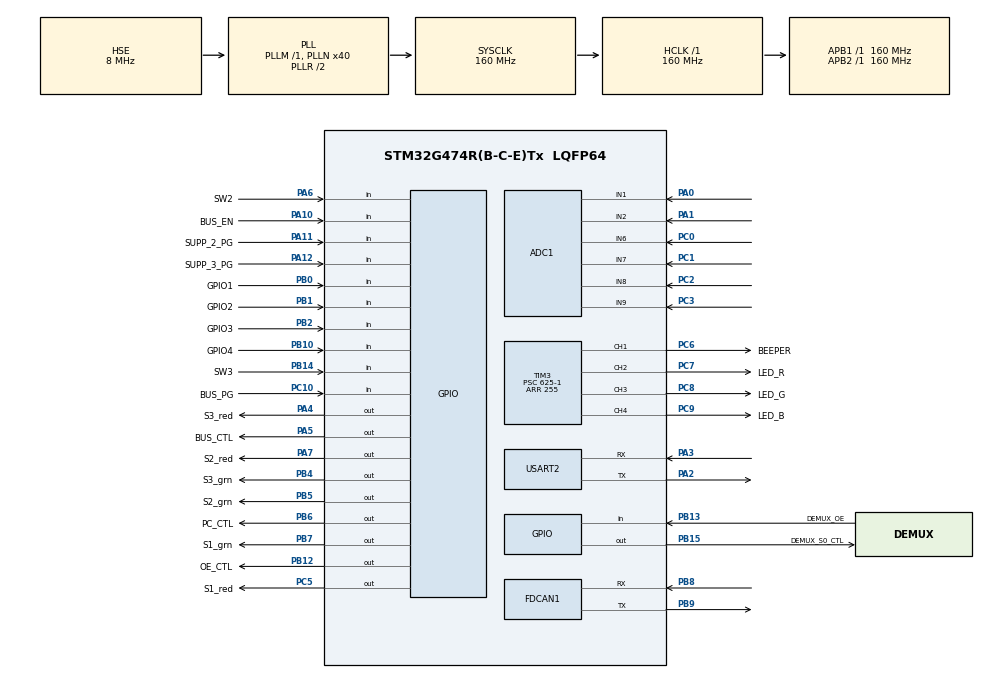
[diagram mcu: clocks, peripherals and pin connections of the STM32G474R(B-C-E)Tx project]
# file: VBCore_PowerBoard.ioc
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ADC1.Channel-0\#ChannelRegularConversion=ADC_CHANNEL_1
ADC1.Channel-1\#ChannelRegularConversion=ADC_CHANNEL_2
ADC1.Channel-2\#ChannelRegularConversion=ADC_CHANNEL_6
ADC1.Channel-3\#ChannelRegularConversion=ADC_CHANNEL_7
ADC1.Channel-4\#ChannelRegularConversion=ADC_CHANNEL_8
ADC1.Channel-5\#ChannelRegularConversion=ADC_CHANNEL_9
ADC1.ClockPrescaler=ADC_CLOCK_ASYNC_DIV128
ADC1.ContinuousConvMode=ENABLE
ADC1.DMAContinuousRequests=ENABLE
ADC1.EOCSelection=ADC_EOC_SEQ_CONV
ADC1.NbrOfConversion=6
ADC1.NbrOfConversionFlag=1
ADC1.OffsetNumber-0\#ChannelRegularConversion=ADC_OFFSET_NONE
ADC1.OffsetNumber-1\#ChannelRegularConversion=ADC_OFFSET_NONE
ADC1.OffsetNumber-2\#ChannelRegularConversion=ADC_OFFSET_NONE
ADC1.OffsetNumber-3\#ChannelRegularConversion=ADC_OFFSET_NONE
ADC1.OffsetNumber-4\#ChannelRegularConversion=ADC_OFFSET_NONE
ADC1.OffsetNumber-5\#ChannelRegularConversion=ADC_OFFSET_NONE
ADC1.Overrun=ADC_OVR_DATA_OVERWRITTEN
ADC1.OversamplingMode=DISABLE
ADC1.Rank-0\#ChannelRegularConversion=1
ADC1.Rank-1\#ChannelRegularConversion=2
ADC1.Rank-2\#ChannelRegularConversion=3
ADC1.Rank-3\#ChannelRegularConversion=4
ADC1.Rank-4\#ChannelRegularConversion=5
ADC1.Rank-5\#ChannelRegularConversion=6
ADC1.SamplingTime-0\#ChannelRegularConversion=ADC_SAMPLETIME_24CYCLES_5
ADC1.SamplingTime-1\#ChannelRegularConversion=ADC_SAMPLETIME_24CYCLES_5
ADC1.SamplingTime-2\#ChannelRegularConversion=ADC_SAMPLETIME_24CYCLES_5
ADC1.SamplingTime-3\#ChannelRegularConversion=ADC_SAMPLETIME_24CYCLES_5
ADC1.SamplingTime-4\#ChannelRegularConversion=ADC_SAMPLETIME_24CYCLES_5
ADC1.SamplingTime-5\#ChannelRegularConversion=ADC_SAMPLETIME_24CYCLES_5
ADC1.master=1
Dma.ADC1.0.Direction=DMA_PERIPH_TO_MEMORY
Dma.ADC1.0.EventEnable=DISABLE
Dma.ADC1.0.Instance=DMA1_Channel1
Dma.ADC1.0.MemDataAlignment=DMA_MDATAALIGN_WORD
Dma.ADC1.0.MemInc=DMA_MINC_ENABLE
Dma.ADC1.0.Mode=DMA_CIRCULAR
Dma.ADC1.0.PeriphDataAlignment=DMA_PDATAALIGN_WORD
Dma.ADC1.0.PeriphInc=DMA_PINC_DISABLE
Dma.ADC1.0.Polarity=HAL_DMAMUX_REQ_GEN_RISING
Dma.ADC1.0.Priority=DMA_PRIORITY_LOW
Dma.ADC1.0.RequestNumber=1
Dma.ADC1.0.SignalID=NONE
Dma.ADC1.0.SyncEnable=DISABLE
Dma.ADC1.0.SyncPolarity=HAL_DMAMUX_SYNC_NO_EVENT
Dma.ADC1.0.SyncRequestNumber=1
Dma.ADC1.0.SyncSignalID=NONE
Dma.Request0=ADC1
FDCAN1.AutoRetransmission=ENABLE
FDCAN1.CalculateBaudRateNominal=1000000
FDCAN1.CalculateTimeBitNominal=1000
FDCAN1.CalculateTimeQuantumNominal=12.5
FDCAN1.ClockDivider=FDCAN_CLOCK_DIV2
FDCAN1.DataPrescaler=1
FDCAN1.DataTimeSeg1=5
FDCAN1.DataTimeSeg2=4
FDCAN1.ExtFiltersNbr=3
FDCAN1.FrameFormat=FDCAN_FRAME_FD_BRS
FDCAN1.NominalPrescaler=1
FDCAN1.NominalTimeSeg1=55
FDCAN1.NominalTimeSeg2=24
FDCAN1.TransmitPause=ENABLE
Mcu.Family=STM32G4
Mcu.Name=STM32G474R(B-C-E)Tx
Mcu.Package=LQFP64
NVIC.DMA1_Channel1_IRQn=true\:0\:0\:false\:false\:true\:false\:true\:true
NVIC.PriorityGroup=NVIC_PRIORITYGROUP_4
NVIC.TIM1_UP_TIM16_IRQn=true\:2\:0\:true\:false\:true\:true\:true\:true
NVIC.TIM6_DAC_IRQn=true\:1\:0\:true\:false\:true\:true\:true\:true
NVIC.TIM7_DAC_IRQn=true\:0\:0\:false\:false\:true\:true\:true\:true
PA0.Mode=IN1-Single-Ended
PA0.Signal=ADC1_IN1
PA1.Mode=IN2-Single-Ended
PA1.Signal=ADC1_IN2
PA10.GPIO_Label=BUS_EN
PA10.Signal=GPIO_Input
PA11.GPIO_Label=SUPP_2_PG
PA11.GPIO_PuPd=GPIO_PULLUP
PA11.Signal=GPIO_Input
PA12.GPIO_Label=SUPP_3_PG
PA12.GPIO_PuPd=GPIO_PULLUP
PA12.Signal=GPIO_Input
PA13.Mode=Serial_Wire
PA13.Signal=SYS_JTMS-SWDIO
PA14.Mode=Serial_Wire
PA14.Signal=SYS_JTCK-SWCLK
PA2.Mode=Asynchronous
PA2.Signal=USART2_TX
PA3.Mode=Asynchronous
PA3.Signal=USART2_RX
PA4.GPIO_Label=S3_red
PA4.Signal=GPIO_Output
PA5.GPIO_Label=BUS_CTL
PA5.Signal=GPIO_Output
PA6.GPIO_Label=SW2
PA6.GPIO_PuPd=GPIO_PULLUP
PA6.Signal=GPIO_Input
PA7.GPIO_Label=S2_red
PA7.Signal=GPIO_Output
PB0.GPIO_Label=GPIO1
PB0.GPIO_PuPd=GPIO_PULLUP
PB0.Signal=GPIO_Input
PB1.GPIO_Label=GPIO2
PB1.GPIO_PuPd=GPIO_PULLUP
PB1.Signal=GPIO_Input
PB10.GPIO_Label=GPIO4
PB10.GPIO_PuPd=GPIO_PULLUP
PB10.Signal=GPIO_Input
PB12.GPIO_Label=OE_CTL
PB12.Signal=GPIO_Output
PB13.GPIO_Label=DEMUX_OE
PB13.Signal=GPIO_Input
PB14.GPIO_Label=SW3
PB14.GPIO_PuPd=GPIO_PULLUP
PB14.Signal=GPIO_Input
PB15.GPIO_Label=DEMUX_S0_CTL
PB15.Signal=GPIO_Output
PB2.GPIO_Label=GPIO3
PB2.GPIO_PuPd=GPIO_PULLUP
PB2.Signal=GPIO_Input
PB4.GPIO_Label=S3_grn
PB4.Signal=GPIO_Output
PB5.GPIO_Label=S2_grn
PB5.Signal=GPIO_Output
PB6.GPIO_Label=PC_CTL
PB6.Signal=GPIO_Output
PB7.GPIO_Label=S1_grn
PB7.Signal=GPIO_Output
PB8-BOOT0.Mode=FDCAN_Activate
PB8-BOOT0.Signal=FDCAN1_RX
PB9.Mode=FDCAN_Activate
PB9.Signal=FDCAN1_TX
PC0.Mode=IN6-Single-Ended
PC0.Signal=ADC1_IN6
PC1.Mode=IN7-Single-Ended
PC1.Signal=ADC1_IN7
PC10.GPIO_Label=BUS_PG
PC10.GPIO_PuPd=GPIO_PULLUP
PC10.Signal=GPIO_Input
PC2.Mode=IN8-Single-Ended
PC2.Signal=ADC1_IN8
PC3.Mode=IN9-Single-Ended
PC3.Signal=ADC1_IN9
PC5.GPIO_Label=S1_red
PC5.Signal=GPIO_Output
PC6.GPIO_Label=BEEPER
PC6.Signal=S_TIM3_CH1
PC7.GPIO_Label=LED_R
PC7.Signal=S_TIM3_CH2
PC8.GPIO_Label=LED_G
PC8.Signal=S_TIM3_CH3
PC9.GPIO_Label=LED_B
PC9.Signal=S_TIM3_CH4
PF0-OSC_IN.Mode=HSE-External-Oscillator
PF0-OSC_IN.Signal=RCC_OSC_IN
PF1-OSC_OUT.Mode=HSE-External-Oscillator
PF1-OSC_OUT.Signal=RCC_OSC_OUT
ProjectManager.HeapSize=0x2000
ProjectManager.StackSize=0x4000
ProjectManager.TargetToolchain=CMake
RCC.ADC12Freq_Value=160000000
RCC.ADC345Freq_Value=160000000
RCC.AHBFreq_Value=160000000
RCC.APB1Freq_Value=160000000
RCC.APB1TimFreq_Value=160000000
RCC.APB2Freq_Value=160000000
RCC.APB2TimFreq_Value=160000000
RCC.CortexFreq_Value=160000000
RCC.EXTERNAL_CLOCK_VALUE=12288000
RCC.HCLKFreq_Value=160000000
RCC.HSE_VALUE=8000000
RCC.HSI48_VALUE=48000000
RCC.HSI_VALUE=16000000
RCC.LSE_VALUE=32768
RCC.PLLN=40
RCC.PLLSourceVirtual=RCC_PLLSOURCE_HSE
RCC.SYSCLKFreq_VALUE=160000000
RCC.SYSCLKSource=RCC_SYSCLKSOURCE_PLLCLK
RCC.USBFreq_Value=160000000
RCC.VCOOutputFreq_Value=320000000
SH.S_TIM3_CH1.0=TIM3_CH1,PWM Generation1 CH1
SH.S_TIM3_CH2.0=TIM3_CH2,PWM Generation2 CH2
SH.S_TIM3_CH3.0=TIM3_CH3,PWM Generation3 CH3
SH.S_TIM3_CH4.0=TIM3_CH4,PWM Generation4 CH4
TIM16.PeriodNoDither=4999
TIM16.Prescaler=159
TIM3.Channel-PWM\ Generation1\ CH1=TIM_CHANNEL_1
TIM3.Channel-PWM\ Generation2\ CH2=TIM_CHANNEL_2
TIM3.Channel-PWM\ Generation3\ CH3=TIM_CHANNEL_3
TIM3.Channel-PWM\ Generation4\ CH4=TIM_CHANNEL_4
TIM3.PeriodNoDither=255
TIM3.Prescaler=625-1
TIM3.PulseNoDither_1=127
TIM3.PulseNoDither_2=255
TIM3.PulseNoDither_3=255
TIM3.PulseNoDither_4=0
TIM6.PeriodNoDither=4999
TIM6.Prescaler=159
TIM7.PeriodNoDither=49999
TIM7.Prescaler=159
USART2.VirtualMode-Asynchronous=VM_ASYNC
VP_SYS_VS_DBSignals.Mode=DisableDeadBatterySignals
VP_TIM16_VS_ClockSourceINT.Mode=Enable_Timer
VP_TIM3_VS_ClockSourceINT.Mode=Internal
VP_TIM6_VS_ClockSourceINT.Mode=Enable_Timer
VP_TIM7_VS_ClockSourceINT.Mode=Enable_Timer
board=custom

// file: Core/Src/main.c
/* USER CODE BEGIN Header */
/**
  ******************************************************************************
  * @file           : main.c
  * @brief          : Main program body
  ******************************************************************************
  * @attention
  *
  * Copyright (c) 2023 STMicroelectronics.
  * All rights reserved.
  *
  * This software is licensed under terms that can be found in the LICENSE file
  * in the root directory of this software component.
  * If no LICENSE file comes with this software, it is provided AS-IS.
  *
  ******************************************************************************
  */
/* USER CODE END Header */
#include "main.h"

/* USER CODE BEGIN Includes */
#include <stdio.h>
#include <stdarg.h>
/* USER CODE END Includes */

/* USER CODE BEGIN PD */
//#define auto_prime_selection
//#define curr_sns_inver

// Uncomment this line in case of using board older than 1.0 without wire jumper on the module
//#define old_pcb

#ifdef old_pcb
#undef BUS_CTL_Pin
#undef BUS_CTL_GPIO_Port

#define BUS_CTL_Pin LL_GPIO_PIN_15
#define BUS_CTL_GPIO_Port GPIOA
#endif
/* USER CODE END PD */

ADC_HandleTypeDef hadc1;
DMA_HandleTypeDef hdma_adc1;

FDCAN_HandleTypeDef hfdcan1;

TIM_HandleTypeDef htim3;
TIM_HandleTypeDef htim6;
TIM_HandleTypeDef htim7;
TIM_HandleTypeDef htim16;

UART_HandleTypeDef huart2;

/* USER CODE BEGIN PV */
uint64_t TIM7_ITs = 0; // counter of microseconds timesource ITs

#define ADC_buf_size 6
uint32_t ADC1_buf[ADC_buf_size] = {0};

input_src_stat VIN1;
input_src_stat VIN2 = { .PG_pin = SUPP_2_PG_Pin, .PG_port = SUPP_2_PG_GPIO_Port};
input_src_stat VIN3 = { .PG_pin = SUPP_3_PG_Pin, .PG_port = SUPP_3_PG_GPIO_Port};

input_src_stat CHRG;

input_src_stat *prime_VIN;

input_src_stat *prime_VOUT = NULL;

/********** User accessible variables **********/
uint8_t prime = 0; // selected power source variable. RW

const float uvlo_level = 18.0f; // battery discharged voltage level, Volts
const float uvlo_hyst = 1.0f; // battery discharged hysteresis, Volts

const float src_charged_level = 25.2f; // battery charged voltage level, Volts

const float nom_chrg_curr = 15.0f;

const uint32_t bus_start_timeout = 30000u; // timeout for bus output reaching PowerGood status, microseconds
const uint8_t emergency_start_threshold = 3u; // number of attempts to start the bus before an emergency shutdown

uint8_t default_prime = 0; // variable to store the prefered prime power source. 0 for input "2", 1 for "3"

uint8_t emergency_stat = 0; // flag indicating the emergency button is pressed. RO
uint8_t pc_enable = 1; // PC power bus control. RW
uint8_t bus_enable = 1; // main power bus control. RW

uint8_t pc_stat = 1; // PC power bus status. RO
uint8_t bus_stat = 1; // main power bus status. RO
/* USER CODE END PV */

void SystemClock_Config(void);
static void MX_GPIO_Init(void);
static void MX_DMA_Init(void);
static void MX_ADC1_Init(void);
static void MX_TIM3_Init(void);
static void MX_TIM6_Init(void);
static void MX_TIM7_Init(void);
static void MX_TIM16_Init(void);
static void MX_USART2_UART_Init(void);
static void MX_FDCAN1_Init(void);

int main(void)
{

  /* MCU Configuration--------------------------------------------------------*/

  /* Reset of all peripherals, Initializes the Flash interface and the Systick. */
  HAL_Init();

  /* Configure the system clock */
  SystemClock_Config();

  /* Initialize all configured peripherals */
  MX_GPIO_Init();
  MX_DMA_Init();
  MX_ADC1_Init();
  MX_TIM3_Init();
  MX_TIM6_Init();
  MX_TIM7_Init();
  MX_TIM16_Init();
  MX_USART2_UART_Init();
  MX_FDCAN1_Init();
  /* USER CODE BEGIN 2 */
  HAL_Delay(300); // prevents MOSFETs torture if board is forced to restart frequently

  HAL_TIM_Base_Start_IT(&htim7); // enable microseconds timesource

  HAL_ADCEx_Calibration_Start(&hadc1, ADC_SINGLE_ENDED); // apply factory ADC calibration settings
  HAL_ADC_Start_DMA(&hadc1, ADC1_buf, ADC_buf_size); // enable ADC and bind DMA to the output buffer

  HAL_TIM_Base_Start_IT(&htim6); // processes ADC values in TIM6 interrupt

  LL_GPIO_SetOutputPin(PC_CTL_GPIO_Port, PC_CTL_Pin); // enable PC bus

  HAL_Delay(100);
  HAL_TIM_Base_Start_IT(&htim16); // processes power control logic in TIM16 interrupt
  HAL_Delay(10);

  UART2_printf( "UVLO=%4.1f HYST=%4.1f FULL_CHRG=%4.1f CHRG_CURR=%4.1f\r\n", uvlo_level, uvlo_hyst, src_charged_level, nom_chrg_curr);

  user_setup();

  /* USER CODE END 2 */

  /* Infinite loop */
  /* USER CODE BEGIN WHILE */
  while (1)
  {
    user_spin();

    /* USER CODE END WHILE */

  }
}

void SystemClock_Config(void)
{
  RCC_OscInitTypeDef RCC_OscInitStruct = {0};
  RCC_ClkInitTypeDef RCC_ClkInitStruct = {0};

  /** Configure the main internal regulator output voltage
  */
  HAL_PWREx_ControlVoltageScaling(PWR_REGULATOR_VOLTAGE_SCALE1_BOOST);

  /** Initializes the RCC Oscillators according to the specified parameters
  * in the RCC_OscInitTypeDef structure.
  */
  RCC_OscInitStruct.OscillatorType = RCC_OSCILLATORTYPE_HSE;
  RCC_OscInitStruct.HSEState = RCC_HSE_ON;
  RCC_OscInitStruct.PLL.PLLState = RCC_PLL_ON;
  RCC_OscInitStruct.PLL.PLLSource = RCC_PLLSOURCE_HSE;
  RCC_OscInitStruct.PLL.PLLM = RCC_PLLM_DIV1;
  RCC_OscInitStruct.PLL.PLLN = 40;
  RCC_OscInitStruct.PLL.PLLP = RCC_PLLP_DIV2;
  RCC_OscInitStruct.PLL.PLLQ = RCC_PLLQ_DIV2;
  RCC_OscInitStruct.PLL.PLLR = RCC_PLLR_DIV2;
  if (HAL_RCC_OscConfig(&RCC_OscInitStruct) != HAL_OK)
  {
    Error_Handler();
  }

  /** Initializes the CPU, AHB and APB buses clocks
  */
  RCC_ClkInitStruct.ClockType = RCC_CLOCKTYPE_HCLK|RCC_CLOCKTYPE_SYSCLK
                              |RCC_CLOCKTYPE_PCLK1|RCC_CLOCKTYPE_PCLK2;
  RCC_ClkInitStruct.SYSCLKSource = RCC_SYSCLKSOURCE_PLLCLK;
  RCC_ClkInitStruct.AHBCLKDivider = RCC_SYSCLK_DIV1;
  RCC_ClkInitStruct.APB1CLKDivider = RCC_HCLK_DIV1;
  RCC_ClkInitStruct.APB2CLKDivider = RCC_HCLK_DIV1;

  if (HAL_RCC_ClockConfig(&RCC_ClkInitStruct, FLASH_LATENCY_4) != HAL_OK)
  {
    Error_Handler();
  }
}

static void MX_ADC1_Init(void)
{

  ADC_MultiModeTypeDef multimode = {0};
  ADC_ChannelConfTypeDef sConfig = {0};

  /** Common config
  */
  hadc1.Instance = ADC1;
  hadc1.Init.ClockPrescaler = ADC_CLOCK_ASYNC_DIV128;
  hadc1.Init.Resolution = ADC_RESOLUTION_12B;
  hadc1.Init.DataAlign = ADC_DATAALIGN_RIGHT;
  hadc1.Init.GainCompensation = 0;
  hadc1.Init.ScanConvMode = ADC_SCAN_ENABLE;
  hadc1.Init.EOCSelection = ADC_EOC_SEQ_CONV;
  hadc1.Init.LowPowerAutoWait = DISABLE;
  hadc1.Init.ContinuousConvMode = ENABLE;
  hadc1.Init.NbrOfConversion = 6;
  hadc1.Init.DiscontinuousConvMode = DISABLE;
  hadc1.Init.ExternalTrigConv = ADC_SOFTWARE_START;
  hadc1.Init.ExternalTrigConvEdge = ADC_EXTERNALTRIGCONVEDGE_NONE;
  hadc1.Init.DMAContinuousRequests = ENABLE;
  hadc1.Init.Overrun = ADC_OVR_DATA_OVERWRITTEN;
  hadc1.Init.OversamplingMode = DISABLE;
  if (HAL_ADC_Init(&hadc1) != HAL_OK)
  {
    Error_Handler();
  }

  /** Configure the ADC multi-mode
  */
  multimode.Mode = ADC_MODE_INDEPENDENT;
  if (HAL_ADCEx_MultiModeConfigChannel(&hadc1, &multimode) != HAL_OK)
  {
    Error_Handler();
  }

  /** Configure Regular Channel
  */
  sConfig.Channel = ADC_CHANNEL_1;
  sConfig.Rank = ADC_REGULAR_RANK_1;
  sConfig.SamplingTime = ADC_SAMPLETIME_24CYCLES_5;
  sConfig.SingleDiff = ADC_SINGLE_ENDED;
  sConfig.OffsetNumber = ADC_OFFSET_NONE;
  sConfig.Offset = 0;
  if (HAL_ADC_ConfigChannel(&hadc1, &sConfig) != HAL_OK)
  {
    Error_Handler();
  }

  /** Configure Regular Channel
  */
  sConfig.Channel = ADC_CHANNEL_2;
  sConfig.Rank = ADC_REGULAR_RANK_2;
  if (HAL_ADC_ConfigChannel(&hadc1, &sConfig) != HAL_OK)
  {
    Error_Handler();
  }

  /** Configure Regular Channel
  */
  sConfig.Channel = ADC_CHANNEL_6;
  sConfig.Rank = ADC_REGULAR_RANK_3;
  if (HAL_ADC_ConfigChannel(&hadc1, &sConfig) != HAL_OK)
  {
    Error_Handler();
  }

  /** Configure Regular Channel
  */
  sConfig.Channel = ADC_CHANNEL_7;
  sConfig.Rank = ADC_REGULAR_RANK_4;
  if (HAL_ADC_ConfigChannel(&hadc1, &sConfig) != HAL_OK)
  {
    Error_Handler();
  }

  /** Configure Regular Channel
  */
  sConfig.Channel = ADC_CHANNEL_8;
  sConfig.Rank = ADC_REGULAR_RANK_5;
  if (HAL_ADC_ConfigChannel(&hadc1, &sConfig) != HAL_OK)
  {
    Error_Handler();
  }

  /** Configure Regular Channel
  */
  sConfig.Channel = ADC_CHANNEL_9;
  sConfig.Rank = ADC_REGULAR_RANK_6;
  if (HAL_ADC_ConfigChannel(&hadc1, &sConfig) != HAL_OK)
  {
    Error_Handler();
  }

}

static void MX_FDCAN1_Init(void)
{

  hfdcan1.Instance = FDCAN1;
  hfdcan1.Init.ClockDivider = FDCAN_CLOCK_DIV2;
  hfdcan1.Init.FrameFormat = FDCAN_FRAME_FD_BRS;
  hfdcan1.Init.Mode = FDCAN_MODE_NORMAL;
  hfdcan1.Init.AutoRetransmission = ENABLE;
  hfdcan1.Init.TransmitPause = ENABLE;
  hfdcan1.Init.ProtocolException = DISABLE;
  hfdcan1.Init.NominalPrescaler = 1;
  hfdcan1.Init.NominalSyncJumpWidth = 1;
  hfdcan1.Init.NominalTimeSeg1 = 55;
  hfdcan1.Init.NominalTimeSeg2 = 24;
  hfdcan1.Init.DataPrescaler = 1;
  hfdcan1.Init.DataSyncJumpWidth = 1;
  hfdcan1.Init.DataTimeSeg1 = 5;
  hfdcan1.Init.DataTimeSeg2 = 4;
  hfdcan1.Init.StdFiltersNbr = 0;
  hfdcan1.Init.ExtFiltersNbr = 3;
  hfdcan1.Init.TxFifoQueueMode = FDCAN_TX_FIFO_OPERATION;
  if (HAL_FDCAN_Init(&hfdcan1) != HAL_OK)
  {
    Error_Handler();
  }

}

static void MX_TIM3_Init(void)
{

  TIM_ClockConfigTypeDef sClockSourceConfig = {0};
  TIM_MasterConfigTypeDef sMasterConfig = {0};
  TIM_OC_InitTypeDef sConfigOC = {0};

  htim3.Instance = TIM3;
  htim3.Init.Prescaler = 625-1;
  htim3.Init.CounterMode = TIM_COUNTERMODE_UP;
  htim3.Init.Period = 255;
  htim3.Init.ClockDivision = TIM_CLOCKDIVISION_DIV1;
  htim3.Init.AutoReloadPreload = TIM_AUTORELOAD_PRELOAD_DISABLE;
  if (HAL_TIM_Base_Init(&htim3) != HAL_OK)
  {
    Error_Handler();
  }
  sClockSourceConfig.ClockSource = TIM_CLOCKSOURCE_INTERNAL;
  if (HAL_TIM_ConfigClockSource(&htim3, &sClockSourceConfig) != HAL_OK)
  {
    Error_Handler();
  }
  if (HAL_TIM_PWM_Init(&htim3) != HAL_OK)
  {
    Error_Handler();
  }
  sMasterConfig.MasterOutputTrigger = TIM_TRGO_RESET;
  sMasterConfig.MasterSlaveMode = TIM_MASTERSLAVEMODE_DISABLE;
  if (HAL_TIMEx_MasterConfigSynchronization(&htim3, &sMasterConfig) != HAL_OK)
  {
    Error_Handler();
  }
  sConfigOC.OCMode = TIM_OCMODE_PWM1;
  sConfigOC.Pulse = 127;
  sConfigOC.OCPolarity = TIM_OCPOLARITY_HIGH;
  sConfigOC.OCFastMode = TIM_OCFAST_DISABLE;
  if (HAL_TIM_PWM_ConfigChannel(&htim3, &sConfigOC, TIM_CHANNEL_1) != HAL_OK)
  {
    Error_Handler();
  }
  sConfigOC.Pulse = 255;
  if (HAL_TIM_PWM_ConfigChannel(&htim3, &sConfigOC, TIM_CHANNEL_2) != HAL_OK)
  {
    Error_Handler();
  }
  if (HAL_TIM_PWM_ConfigChannel(&htim3, &sConfigOC, TIM_CHANNEL_3) != HAL_OK)
  {
    Error_Handler();
  }
  sConfigOC.Pulse = 0;
  if (HAL_TIM_PWM_ConfigChannel(&htim3, &sConfigOC, TIM_CHANNEL_4) != HAL_OK)
  {
    Error_Handler();
  }
  HAL_TIM_MspPostInit(&htim3);

}

static void MX_TIM6_Init(void)
{

  TIM_MasterConfigTypeDef sMasterConfig = {0};

  htim6.Instance = TIM6;
  htim6.Init.Prescaler = 159;
  htim6.Init.CounterMode = TIM_COUNTERMODE_UP;
  htim6.Init.Period = 4999;
  htim6.Init.AutoReloadPreload = TIM_AUTORELOAD_PRELOAD_DISABLE;
  if (HAL_TIM_Base_Init(&htim6) != HAL_OK)
  {
    Error_Handler();
  }
  sMasterConfig.MasterOutputTrigger = TIM_TRGO_RESET;
  sMasterConfig.MasterSlaveMode = TIM_MASTERSLAVEMODE_DISABLE;
  if (HAL_TIMEx_MasterConfigSynchronization(&htim6, &sMasterConfig) != HAL_OK)
  {
    Error_Handler();
  }

}

static void MX_TIM7_Init(void)
{

  TIM_MasterConfigTypeDef sMasterConfig = {0};

  htim7.Instance = TIM7;
  htim7.Init.Prescaler = 159;
  htim7.Init.CounterMode = TIM_COUNTERMODE_UP;
  htim7.Init.Period = 49999;
  htim7.Init.AutoReloadPreload = TIM_AUTORELOAD_PRELOAD_DISABLE;
  if (HAL_TIM_Base_Init(&htim7) != HAL_OK)
  {
    Error_Handler();
  }
  sMasterConfig.MasterOutputTrigger = TIM_TRGO_RESET;
  sMasterConfig.MasterSlaveMode = TIM_MASTERSLAVEMODE_DISABLE;
  if (HAL_TIMEx_MasterConfigSynchronization(&htim7, &sMasterConfig) != HAL_OK)
  {
    Error_Handler();
  }

}

static void MX_TIM16_Init(void)
{

  htim16.Instance = TIM16;
  htim16.Init.Prescaler = 159;
  htim16.Init.CounterMode = TIM_COUNTERMODE_UP;
  htim16.Init.Period = 4999;
  htim16.Init.ClockDivision = TIM_CLOCKDIVISION_DIV1;
  htim16.Init.RepetitionCounter = 0;
  htim16.Init.AutoReloadPreload = TIM_AUTORELOAD_PRELOAD_DISABLE;
  if (HAL_TIM_Base_Init(&htim16) != HAL_OK)
  {
    Error_Handler();
  }

}

static void MX_USART2_UART_Init(void)
{

  huart2.Instance = USART2;
  huart2.Init.BaudRate = 115200;
  huart2.Init.WordLength = UART_WORDLENGTH_8B;
  huart2.Init.StopBits = UART_STOPBITS_1;
  huart2.Init.Parity = UART_PARITY_NONE;
  huart2.Init.Mode = UART_MODE_TX_RX;
  huart2.Init.HwFlowCtl = UART_HWCONTROL_NONE;
  huart2.Init.OverSampling = UART_OVERSAMPLING_16;
  huart2.Init.OneBitSampling = UART_ONE_BIT_SAMPLE_DISABLE;
  huart2.Init.ClockPrescaler = UART_PRESCALER_DIV1;
  huart2.AdvancedInit.AdvFeatureInit = UART_ADVFEATURE_NO_INIT;
  if (HAL_UART_Init(&huart2) != HAL_OK)
  {
    Error_Handler();
  }
  if (HAL_UARTEx_SetTxFifoThreshold(&huart2, UART_TXFIFO_THRESHOLD_1_8) != HAL_OK)
  {
    Error_Handler();
  }
  if (HAL_UARTEx_SetRxFifoThreshold(&huart2, UART_RXFIFO_THRESHOLD_1_8) != HAL_OK)
  {
    Error_Handler();
  }
  if (HAL_UARTEx_DisableFifoMode(&huart2) != HAL_OK)
  {
    Error_Handler();
  }

}

static void MX_DMA_Init(void)
{

  /* DMA controller clock enable */
  __HAL_RCC_DMAMUX1_CLK_ENABLE();
  __HAL_RCC_DMA1_CLK_ENABLE();

  /* DMA interrupt init */
  /* DMA1_Channel1_IRQn interrupt configuration */
  HAL_NVIC_SetPriority(DMA1_Channel1_IRQn, 0, 0);
  HAL_NVIC_EnableIRQ(DMA1_Channel1_IRQn);

}

static void MX_GPIO_Init(void)
{
  LL_GPIO_InitTypeDef GPIO_InitStruct = {0};

  /* GPIO Ports Clock Enable */
  LL_AHB2_GRP1_EnableClock(LL_AHB2_GRP1_PERIPH_GPIOF);
  LL_AHB2_GRP1_EnableClock(LL_AHB2_GRP1_PERIPH_GPIOC);
  LL_AHB2_GRP1_EnableClock(LL_AHB2_GRP1_PERIPH_GPIOA);
  LL_AHB2_GRP1_EnableClock(LL_AHB2_GRP1_PERIPH_GPIOB);

  /**/
  LL_GPIO_ResetOutputPin(S3_red_GPIO_Port, S3_red_Pin);

  /**/
  LL_GPIO_ResetOutputPin(BUS_CTL_GPIO_Port, BUS_CTL_Pin);

  /**/
  LL_GPIO_ResetOutputPin(S2_red_GPIO_Port, S2_red_Pin);

  /**/
  LL_GPIO_ResetOutputPin(S1_red_GPIO_Port, S1_red_Pin);

  /**/
  LL_GPIO_ResetOutputPin(OE_CTL_GPIO_Port, OE_CTL_Pin);

  /**/
  LL_GPIO_ResetOutputPin(DEMUX_S0_CTL_GPIO_Port, DEMUX_S0_CTL_Pin);

  /**/
  LL_GPIO_ResetOutputPin(S3_grn_GPIO_Port, S3_grn_Pin);

  /**/
  LL_GPIO_ResetOutputPin(S2_grn_GPIO_Port, S2_grn_Pin);

  /**/
  LL_GPIO_ResetOutputPin(PC_CTL_GPIO_Port, PC_CTL_Pin);

  /**/
  LL_GPIO_ResetOutputPin(S1_grn_GPIO_Port, S1_grn_Pin);

  /**/
  GPIO_InitStruct.Pin = S3_red_Pin;
  GPIO_InitStruct.Mode = LL_GPIO_MODE_OUTPUT;
  GPIO_InitStruct.Speed = LL_GPIO_SPEED_FREQ_LOW;
  GPIO_InitStruct.OutputType = LL_GPIO_OUTPUT_PUSHPULL;
  GPIO_InitStruct.Pull = LL_GPIO_PULL_NO;
  LL_GPIO_Init(S3_red_GPIO_Port, &GPIO_InitStruct);

  /**/
  GPIO_InitStruct.Pin = BUS_CTL_Pin;
  GPIO_InitStruct.Mode = LL_GPIO_MODE_OUTPUT;
  GPIO_InitStruct.Speed = LL_GPIO_SPEED_FREQ_LOW;
  GPIO_InitStruct.OutputType = LL_GPIO_OUTPUT_PUSHPULL;
  GPIO_InitStruct.Pull = LL_GPIO_PULL_NO;
  LL_GPIO_Init(BUS_CTL_GPIO_Port, &GPIO_InitStruct);

  /**/
  GPIO_InitStruct.Pin = SW2_Pin;
  GPIO_InitStruct.Mode = LL_GPIO_MODE_INPUT;
  GPIO_InitStruct.Pull = LL_GPIO_PULL_UP;
  LL_GPIO_Init(SW2_GPIO_Port, &GPIO_InitStruct);

  /**/
  GPIO_InitStruct.Pin = S2_red_Pin;
  GPIO_InitStruct.Mode = LL_GPIO_MODE_OUTPUT;
  GPIO_InitStruct.Speed = LL_GPIO_SPEED_FREQ_LOW;
  GPIO_InitStruct.OutputType = LL_GPIO_OUTPUT_PUSHPULL;
  GPIO_InitStruct.Pull = LL_GPIO_PULL_NO;
  LL_GPIO_Init(S2_red_GPIO_Port, &GPIO_InitStruct);

  /**/
  GPIO_InitStruct.Pin = S1_red_Pin;
  GPIO_InitStruct.Mode = LL_GPIO_MODE_OUTPUT;
  GPIO_InitStruct.Speed = LL_GPIO_SPEED_FREQ_LOW;
  GPIO_InitStruct.OutputType = LL_GPIO_OUTPUT_PUSHPULL;
  GPIO_InitStruct.Pull = LL_GPIO_PULL_NO;
  LL_GPIO_Init(S1_red_GPIO_Port, &GPIO_InitStruct);

  /**/
  GPIO_InitStruct.Pin = GPIO1_Pin;
  GPIO_InitStruct.Mode = LL_GPIO_MODE_INPUT;
  GPIO_InitStruct.Pull = LL_GPIO_PULL_UP;
  LL_GPIO_Init(GPIO1_GPIO_Port, &GPIO_InitStruct);

  /**/
  GPIO_InitStruct.Pin = GPIO2_Pin;
  GPIO_InitStruct.Mode = LL_GPIO_MODE_INPUT;
  GPIO_InitStruct.Pull = LL_GPIO_PULL_UP;
  LL_GPIO_Init(GPIO2_GPIO_Port, &GPIO_InitStruct);

  /**/
  GPIO_InitStruct.Pin = GPIO3_Pin;
  GPIO_InitStruct.Mode = LL_GPIO_MODE_INPUT;
  GPIO_InitStruct.Pull = LL_GPIO_PULL_UP;
  LL_GPIO_Init(GPIO3_GPIO_Port, &GPIO_InitStruct);

  /**/
  GPIO_InitStruct.Pin = GPIO4_Pin;
  GPIO_InitStruct.Mode = LL_GPIO_MODE_INPUT;
  GPIO_InitStruct.Pull = LL_GPIO_PULL_UP;
  LL_GPIO_Init(GPIO4_GPIO_Port, &GPIO_InitStruct);

  /**/
  GPIO_InitStruct.Pin = OE_CTL_Pin;
  GPIO_InitStruct.Mode = LL_GPIO_MODE_OUTPUT;
  GPIO_InitStruct.Speed = LL_GPIO_SPEED_FREQ_LOW;
  GPIO_InitStruct.OutputType = LL_GPIO_OUTPUT_PUSHPULL;
  GPIO_InitStruct.Pull = LL_GPIO_PULL_NO;
  LL_GPIO_Init(OE_CTL_GPIO_Port, &GPIO_InitStruct);

  /**/
  GPIO_InitStruct.Pin = DEMUX_OE_Pin;
  GPIO_InitStruct.Mode = LL_GPIO_MODE_INPUT;
  GPIO_InitStruct.Pull = LL_GPIO_PULL_NO;
  LL_GPIO_Init(DEMUX_OE_GPIO_Port, &GPIO_InitStruct);

  /**/
  GPIO_InitStruct.Pin = SW3_Pin;
  GPIO_InitStruct.Mode = LL_GPIO_MODE_INPUT;
  GPIO_InitStruct.Pull = LL_GPIO_PULL_UP;
  LL_GPIO_Init(SW3_GPIO_Port, &GPIO_InitStruct);

  /**/
  GPIO_InitStruct.Pin = DEMUX_S0_CTL_Pin;
  GPIO_InitStruct.Mode = LL_GPIO_MODE_OUTPUT;
  GPIO_InitStruct.Speed = LL_GPIO_SPEED_FREQ_LOW;
  GPIO_InitStruct.OutputType = LL_GPIO_OUTPUT_PUSHPULL;
  GPIO_InitStruct.Pull = LL_GPIO_PULL_NO;
  LL_GPIO_Init(DEMUX_S0_CTL_GPIO_Port, &GPIO_InitStruct);

  /**/
  GPIO_InitStruct.Pin = BUS_EN_Pin;
  GPIO_InitStruct.Mode = LL_GPIO_MODE_INPUT;
  GPIO_InitStruct.Pull = LL_GPIO_PULL_NO;
  LL_GPIO_Init(BUS_EN_GPIO_Port, &GPIO_InitStruct);

  /**/
  GPIO_InitStruct.Pin = SUPP_2_PG_Pin;
  GPIO_InitStruct.Mode = LL_GPIO_MODE_INPUT;
  GPIO_InitStruct.Pull = LL_GPIO_PULL_UP;
  LL_GPIO_Init(SUPP_2_PG_GPIO_Port, &GPIO_InitStruct);

  /**/
  GPIO_InitStruct.Pin = SUPP_3_PG_Pin;
  GPIO_InitStruct.Mode = LL_GPIO_MODE_INPUT;
  GPIO_InitStruct.Pull = LL_GPIO_PULL_UP;
  LL_GPIO_Init(SUPP_3_PG_GPIO_Port, &GPIO_InitStruct);

  /**/
  GPIO_InitStruct.Pin = BUS_PG_Pin;
  GPIO_InitStruct.Mode = LL_GPIO_MODE_INPUT;
  GPIO_InitStruct.Pull = LL_GPIO_PULL_UP;
  LL_GPIO_Init(BUS_PG_GPIO_Port, &GPIO_InitStruct);

  /**/
  GPIO_InitStruct.Pin = S3_grn_Pin;
  GPIO_InitStruct.Mode = LL_GPIO_MODE_OUTPUT;
  GPIO_InitStruct.Speed = LL_GPIO_SPEED_FREQ_LOW;
  GPIO_InitStruct.OutputType = LL_GPIO_OUTPUT_PUSHPULL;
  GPIO_InitStruct.Pull = LL_GPIO_PULL_NO;
  LL_GPIO_Init(S3_grn_GPIO_Port, &GPIO_InitStruct);

  /**/
  GPIO_InitStruct.Pin = S2_grn_Pin;
  GPIO_InitStruct.Mode = LL_GPIO_MODE_OUTPUT;
  GPIO_InitStruct.Speed = LL_GPIO_SPEED_FREQ_LOW;
  GPIO_InitStruct.OutputType = LL_GPIO_OUTPUT_PUSHPULL;
  GPIO_InitStruct.Pull = LL_GPIO_PULL_NO;
  LL_GPIO_Init(S2_grn_GPIO_Port, &GPIO_InitStruct);

  /**/
  GPIO_InitStruct.Pin = PC_CTL_Pin;
  GPIO_InitStruct.Mode = LL_GPIO_MODE_OUTPUT;
  GPIO_InitStruct.Speed = LL_GPIO_SPEED_FREQ_LOW;
  GPIO_InitStruct.OutputType = LL_GPIO_OUTPUT_PUSHPULL;
  GPIO_InitStruct.Pull = LL_GPIO_PULL_NO;
  LL_GPIO_Init(PC_CTL_GPIO_Port, &GPIO_InitStruct);

  /**/
  GPIO_InitStruct.Pin = S1_grn_Pin;
  GPIO_InitStruct.Mode = LL_GPIO_MODE_OUTPUT;
  GPIO_InitStruct.Speed = LL_GPIO_SPEED_FREQ_LOW;
  GPIO_InitStruct.OutputType = LL_GPIO_OUTPUT_PUSHPULL;
  GPIO_InitStruct.Pull = LL_GPIO_PULL_NO;
  LL_GPIO_Init(S1_grn_GPIO_Port, &GPIO_InitStruct);

}

/* USER CODE BEGIN 4 */
float get_actual_current(void)
{
  float ACS_output_v = ( (float)ADC1_buf[1] * 3.3f / 4096.0f ) - 1.65f;

  #ifdef curr_sns_inver
  ACS_output_v *= -1.0f;
  #endif

  // ACS725LLCTR-50AB Sensitivity = 26.4 mV/A
  return ACS_output_v / 0.0264f;
}

uint8_t check_battery_input( input_src_stat * VIN )
{
  if( VIN->HPF < -5.0f )
  {
    micros_delay( 1000 );

    if( get_actual_current() < 0.4f ) // exclude transients. the source is disconnected only if current ~0A
    {
      VIN->attached = 0;
      VIN->LPF = 0.0f;
    }
  }
  else if( VIN->HPF > 5.0f )
  {
    VIN->attached = 1;
    VIN->LPF = VIN->raw;
  }

  if( VIN->LPF < uvlo_level )
  {
    VIN->charged = 0;
  }
  else if( VIN->LPF > uvlo_level + uvlo_hyst )
  {
    VIN->charged = 1;
  }

  return 0;
}

void check_buttons(void)
{
  if( !LL_GPIO_IsInputPinSet( SW2_GPIO_Port, SW2_Pin) )
  {
    if( !LL_GPIO_IsInputPinSet( SW3_GPIO_Port, SW3_Pin) )
    {
      // user is noodle
    }
    else
    {
      prime = 0;
    }
  }
  else
  {
    if( !LL_GPIO_IsInputPinSet( SW3_GPIO_Port, SW3_Pin) )
    {
      prime = 1;
    }
    else
    {
      // do nothing
    }
  }
}

uint8_t buzzer_mutex = 0;
uint64_t buzzer_pulse_stamp = 0;
uint64_t buzzer_period_stamp = 0;

void power_control(void)
{
  static uint8_t start_fail_cnt = 0; // counter of failed start-up sequences

  // emergency shutdown if output did not start too many times
  if( start_fail_cnt >= emergency_start_threshold )
  {
    LL_GPIO_SetOutputPin(OE_CTL_GPIO_Port, OE_CTL_Pin); // reset channels output control
    LL_GPIO_ResetOutputPin(BUS_CTL_GPIO_Port, BUS_CTL_Pin); // disable power bus

    UART2_printf( "The bus did not reach PG status after %d attempts!\r\n", emergency_start_threshold);
    Error_Handler();
  }

  check_battery_input( &VIN2 );
  check_battery_input( &VIN3 );

  // Check buttons and select prime
  check_buttons();

#ifdef auto_prime_selection
  if( VIN2.charged && VIN3.charged )
  {
    prime = default_prime;
  }
#endif

  if( CHRG.raw > 3.0f )
  {
    // we're in charging mode
    LL_GPIO_ResetOutputPin(BUS_CTL_GPIO_Port, BUS_CTL_Pin); // disable power bus

    if( prime_VOUT == NULL )
    {
      LL_GPIO_SetOutputPin(OE_CTL_GPIO_Port, OE_CTL_Pin); // disable input channels

      micros_delay( 50000 );

      if( ( VIN2.raw > 10.0f ) && ( VIN2.raw < src_charged_level ) )
      {
        prime_VOUT = &VIN2;

        LL_GPIO_SetOutputPin(DEMUX_S0_CTL_GPIO_Port, DEMUX_S0_CTL_Pin);
        LL_GPIO_ResetOutputPin(OE_CTL_GPIO_Port, OE_CTL_Pin); // set channels output control

        micros_delay( 50000 );
      }
      else if( ( VIN3.raw > 10.0f ) && ( VIN3.raw < src_charged_level ) )
      {
        prime_VOUT = &VIN3;

        LL_GPIO_ResetOutputPin(DEMUX_S0_CTL_GPIO_Port, DEMUX_S0_CTL_Pin);
        LL_GPIO_ResetOutputPin(OE_CTL_GPIO_Port, OE_CTL_Pin); // set channels output control

        micros_delay( 50000 );
      }
      else
      {
        return ;
      }
    }

    static float my_current = 0.0f;

    my_current = my_current - (0.1f * (my_current - get_actual_current()));

    if( my_current < ( -1.3f * nom_chrg_curr ) )
    {
      // charging overcurrent event
      LL_GPIO_SetOutputPin(OE_CTL_GPIO_Port, OE_CTL_Pin); // reset channels output control
      LL_GPIO_ResetOutputPin(BUS_CTL_GPIO_Port, BUS_CTL_Pin); // disable power bus

      UART2_printf( "Charge  overcurrent event!\r\n");
      Error_Handler();
    }

    if( get_actual_current() > ( -0.075f * nom_chrg_curr ))
    {
      // battery takes no current = battery is charged
      prime_VOUT = NULL;
    }
  }
  else
  {
    prime_VOUT = NULL;

    // select suitable power source based on availability and user request
    if( prime == 0 )
    {
      if( VIN2.charged )
      {
        prime_VIN = &VIN2;
      }
      else if( VIN3.charged )
      {
        prime = 1; // switch ptime channel to VIN3
        prime_VIN = &VIN3;
      }
      else
      {
        prime_VIN = NULL;
      }
    }
    else
    {
      if( VIN3.charged )
      {
        prime_VIN = &VIN3;
      }
      else if( VIN2.charged )
      {
        prime = 0; // switch ptime channel to VIN2
        prime_VIN = &VIN2;
      }
      else
      {
        prime_VIN = NULL;
      }
    }

    // switch power rails
    if( prime_VIN != NULL )
    {
      uint64_t timestamp = 0;

      if( pc_enable )
      {
        // select desired channel on multiplexer
        if( !prime )
        {
          LL_GPIO_SetOutputPin(DEMUX_S0_CTL_GPIO_Port, DEMUX_S0_CTL_Pin);
        }
        else
        {
          LL_GPIO_ResetOutputPin(DEMUX_S0_CTL_GPIO_Port, DEMUX_S0_CTL_Pin);
        }

        LL_GPIO_ResetOutputPin(OE_CTL_GPIO_Port, OE_CTL_Pin); // set channels output control

        timestamp = micros_64();
        while( LL_GPIO_IsInputPinSet( prime_VIN->PG_port, prime_VIN->PG_pin) ) // wait until PG pin goes low ( PG = OK )
        {
          if(micros_64() > timestamp + 10000 ) // the bus didnt reach PG status in 10 ms = abort operation
          {
            LL_GPIO_SetOutputPin(OE_CTL_GPIO_Port, OE_CTL_Pin); // reset channels output control
            LL_GPIO_ResetOutputPin(BUS_CTL_GPIO_Port, BUS_CTL_Pin); // disable power bus

            micros_delay( 1000000 ); // wait for 1s before trying to enable bus again to prevent MOSFET damage

            start_fail_cnt++;

            return ;
          }
        }
      }
      else
      {
        LL_GPIO_SetOutputPin(OE_CTL_GPIO_Port, OE_CTL_Pin); // reset channels output control
        LL_GPIO_ResetOutputPin(BUS_CTL_GPIO_Port, BUS_CTL_Pin); // disable power bus
        return ;
      }

      if( bus_enable )
      {
        if( !LL_GPIO_IsOutputPinSet(BUS_CTL_GPIO_Port, BUS_CTL_Pin) )
        {
          LL_GPIO_SetOutputPin(BUS_CTL_GPIO_Port, BUS_CTL_Pin); // enable power bus
          micros_delay(2);
        }

        if( !LL_GPIO_IsInputPinSet( BUS_EN_GPIO_Port, BUS_EN_Pin) && LL_GPIO_IsOutputPinSet(BUS_CTL_GPIO_Port, BUS_CTL_Pin) )
        {
          emergency_stat = 1;
          LL_GPIO_ResetOutputPin(BUS_CTL_GPIO_Port, BUS_CTL_Pin); // disable power bus
        }
        else
        {
          emergency_stat = 0;

          timestamp = micros_64();
          while( LL_GPIO_IsInputPinSet( BUS_PG_GPIO_Port, BUS_PG_Pin) ) // wait until PG pin goes low ( PG = OK )
          {
            if(micros_64() > timestamp + bus_start_timeout ) // the bus didnt reach PG status in allotted time = abort operation
            {
              LL_GPIO_SetOutputPin(OE_CTL_GPIO_Port, OE_CTL_Pin); // reset channels output control
              LL_GPIO_ResetOutputPin(BUS_CTL_GPIO_Port, BUS_CTL_Pin); // disable power bus

              micros_delay( 1000000 ); // wait for 1s before trying to enable bus again to prevent MOSFET damage

              start_fail_cnt++;

              return ;
            }
          }
        }
      }
      else
      {
        LL_GPIO_ResetOutputPin(BUS_CTL_GPIO_Port, BUS_CTL_Pin); // disable power bus
        return ;
      }
    }
    else
    {
      // all dead, disable output

      LL_GPIO_SetOutputPin(OE_CTL_GPIO_Port, OE_CTL_Pin); // reset channels output control

      if( LL_GPIO_IsOutputPinSet(BUS_CTL_GPIO_Port, BUS_CTL_Pin) )
      {
        LL_GPIO_ResetOutputPin(BUS_CTL_GPIO_Port, BUS_CTL_Pin); // disable power bus
        micros_delay(200000);
      }

      if( buzzer_mutex < ALARM )
      {
        buzzer_mutex = ALARM;
        buzzer_pulse_stamp = micros_64() + 1000000u;
        buzzer_period_stamp = micros_64() + 2000000u;
      }
    }
  }
}

void indication(void)
{
  if( prime_VIN->LPF < uvlo_level + uvlo_hyst )
  {
    if( buzzer_mutex < WARNING )
    {
      buzzer_mutex = WARNING;
      buzzer_pulse_stamp = micros_64() + 300000u;
      buzzer_period_stamp = micros_64() + 1800000u;
    }
  }

  if( buzzer_mutex )
  {
    if(micros_64() < buzzer_pulse_stamp )
    {
      HAL_TIM_PWM_Start(&htim3, TIM_CHANNEL_1);
    }
    else if(micros_64() < buzzer_period_stamp )
    {
      HAL_TIM_PWM_Stop(&htim3, TIM_CHANNEL_1);
    }
    else
    {
      buzzer_mutex = 0;
    }
  }

  if( VIN2.attached ) { LL_GPIO_SetOutputPin(S2_red_GPIO_Port, S2_red_Pin);   }
  else                { LL_GPIO_ResetOutputPin(S2_red_GPIO_Port, S2_red_Pin); }

  if( VIN2.charged && pc_stat && LL_GPIO_IsOutputPinSet(DEMUX_S0_CTL_GPIO_Port, DEMUX_S0_CTL_Pin) )  { LL_GPIO_SetOutputPin(S2_grn_GPIO_Port, S2_grn_Pin);   }
  else                { LL_GPIO_ResetOutputPin(S2_grn_GPIO_Port, S2_grn_Pin); }

  if( VIN3.attached ) { LL_GPIO_SetOutputPin(S3_red_GPIO_Port, S3_red_Pin);   }
  else                { LL_GPIO_ResetOutputPin(S3_red_GPIO_Port, S3_red_Pin); }

  if( VIN3.charged && pc_stat && !LL_GPIO_IsOutputPinSet(DEMUX_S0_CTL_GPIO_Port, DEMUX_S0_CTL_Pin) )  { LL_GPIO_SetOutputPin(S3_grn_GPIO_Port, S3_grn_Pin);   }
  else                { LL_GPIO_ResetOutputPin(S3_grn_GPIO_Port, S3_grn_Pin); }
}

void HAL_TIM_PeriodElapsedCallback(TIM_HandleTypeDef *htim)
{
  if( htim->Instance == TIM6 )
  {
    VIN2.raw = 16.0f*3.3f*(float)ADC1_buf[3] / ( 4096.0f );
    VIN2.LPF = VIN2.LPF - (0.005f * (VIN2.LPF - VIN2.raw));
    VIN2.HPF = VIN2.raw - VIN2.LPF;

    VIN3.raw = 16.0f*3.3f*(float)ADC1_buf[4] / ( 4096.0f );
    VIN3.LPF = VIN3.LPF - (0.005f * (VIN3.LPF - VIN3.raw));
    VIN3.HPF = VIN3.raw - VIN3.LPF;

    CHRG.raw = 16.0f*3.3f*(float)ADC1_buf[0] / ( 4096.0f );
    CHRG.LPF = CHRG.LPF - (0.005f * (CHRG.LPF - CHRG.raw));
    CHRG.HPF = CHRG.raw - CHRG.LPF;

    return ;
  }
  else if( htim->Instance == TIM7 )
  {
    TIM7_ITs++;
  }
  else if( htim->Instance == TIM16 )
  {
    power_control();

    pc_stat = !LL_GPIO_IsOutputPinSet(OE_CTL_GPIO_Port, OE_CTL_Pin);
    bus_stat = LL_GPIO_IsOutputPinSet(BUS_CTL_GPIO_Port, BUS_CTL_Pin);

    indication();
  }
}

#if defined ( __ICCARM__ ) /*!< IAR Compiler */
#pragma optimize s=none
uint64_t micros()
#elif defined ( __GNUC__ ) /*!< GNU Compiler */
uint64_t __attribute__((optimize("O0"))) micros_64()
#endif
{
  return (uint64_t)(__HAL_TIM_GET_COUNTER(&htim7) + 50000u * TIM7_ITs);
}

#if defined ( __ICCARM__ ) /*!< IAR Compiler */
#pragma optimize s=none
void micros_delay( uint64_t delay )
#elif defined ( __GNUC__ ) /*!< GNU Compiler */
void __attribute__((optimize("O0"))) micros_delay( uint64_t delay )
#endif
{
  uint64_t timestamp = micros_64();
  while(micros_64() < timestamp + delay );
}

void UART2_printf( const char * format, ... )
{
  char buffer[256] = {0};
  va_list args;
  va_start (args, format);
  int len = vsprintf (buffer,format, args);
  va_end (args);

  HAL_UART_Transmit(&huart2, (const uint8_t*)buffer, len, 100);
}

// this function runs once
__weak void user_setup(void)
{

}

// this function runs in an infinite loop
__weak void user_spin(void)
{

}
/* USER CODE END 4 */

void Error_Handler(void)
{
  /* USER CODE BEGIN Error_Handler_Debug */
  LL_GPIO_SetOutputPin(OE_CTL_GPIO_Port, OE_CTL_Pin); // reset channels output control
  LL_GPIO_ResetOutputPin(BUS_CTL_GPIO_Port, BUS_CTL_Pin); // disable power bus

  LL_GPIO_SetOutputPin(S1_red_GPIO_Port, S1_red_Pin);
  LL_GPIO_SetOutputPin(S2_red_GPIO_Port, S2_red_Pin);
  LL_GPIO_SetOutputPin(S3_red_GPIO_Port, S3_red_Pin);

  LL_GPIO_SetOutputPin(S1_grn_GPIO_Port, S1_grn_Pin);
  LL_GPIO_SetOutputPin(S2_grn_GPIO_Port, S2_grn_Pin);
  LL_GPIO_SetOutputPin(S3_grn_GPIO_Port, S3_grn_Pin);

  UART2_printf( "I've fallen into Error Handler!\r\n");
  /* User can add his own implementation to report the HAL error return state */
  __disable_irq();
  while (1)
  {
  }
  /* USER CODE END Error_Handler_Debug */
}
